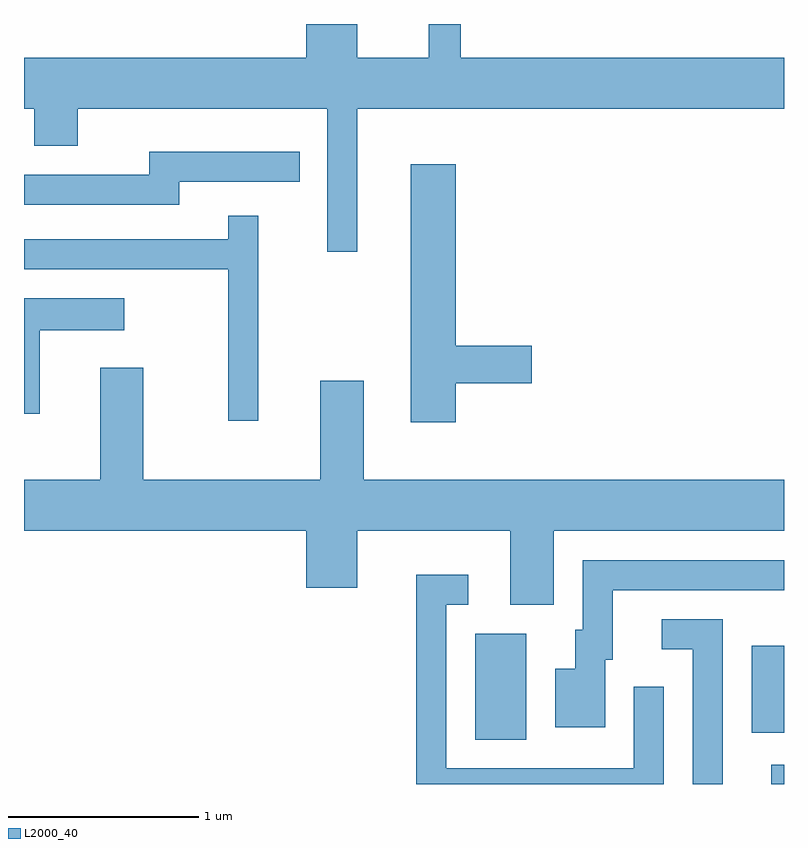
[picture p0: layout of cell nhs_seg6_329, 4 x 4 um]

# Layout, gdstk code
import gdstk
lib = gdstk.Library(unit=1e-6, precision=1e-09)
def R(c, l, rs):  # rectangles x0, y0, x1, y1
    for r in rs: c.add(gdstk.rectangle(r[:2], r[2:], *l))
def P(c, l, *ps):  # polygons
    for p in ps: c.add(gdstk.Polygon(p, *l))
L2000_40 = (2000, 40)

nhs_seg6_329 = lib.new_cell('nhs_seg6_329')
R(nhs_seg6_329, L2000_40, [(197.543,1644.162,197.611,1644.264), (195.986,1644.396,196.254,1644.954), (197.441,1644.431,197.611,1644.889)])
P(nhs_seg6_329, L2000_40, [(195.364,1647.716),(197.611,1647.716),(197.611,1647.984),(195.909,1647.984),(195.909,1648.162),(195.741,1648.162),(195.741,1647.984),(195.364,1647.984),(195.364,1648.162),(195.096,1648.162),(195.096,1647.984),(193.611,1647.984),(193.611,1647.716),(193.666,1647.716),(193.666,1647.521),(193.894,1647.521),(193.894,1647.716),(195.206,1647.716),(195.206,1646.963),(195.364,1646.963)],
  [(194.429,1647.331),(195.063,1647.331),(195.063,1647.489),(194.271,1647.489),(194.271,1647.369),(193.611,1647.369),(193.611,1647.211),(194.429,1647.211)],
  [(195.884,1646.271),(196.284,1646.271),(196.284,1646.469),(195.884,1646.469),(195.884,1647.424),(195.646,1647.424),(195.646,1646.066),(195.884,1646.066)],
  [(194.844,1647.153),(194.686,1647.153),(194.686,1647.029),(193.611,1647.029),(193.611,1646.871),(194.686,1646.871),(194.686,1646.073),(194.844,1646.073)],
  [(193.694,1646.551),(194.138,1646.551),(194.138,1646.719),(193.611,1646.719),(193.611,1646.111),(193.694,1646.111)],
  [(196.399,1645.496),(197.611,1645.496),(197.611,1645.764),(195.399,1645.764),(195.399,1646.284),(195.171,1646.284),(195.171,1645.764),(194.239,1645.764),(194.239,1646.354),(194.011,1646.354),(194.011,1645.764),(193.611,1645.764),(193.611,1645.496),(195.096,1645.496),(195.096,1645.196),(195.364,1645.196),(195.364,1645.496),(196.171,1645.496),(196.171,1645.106),(196.399,1645.106)],
  [(196.669,1644.816),(196.709,1644.816),(196.709,1645.181),(197.611,1645.181),(197.611,1645.339),(196.551,1645.339),(196.551,1644.974),(196.511,1644.974),(196.511,1644.769),(196.406,1644.769),(196.406,1644.461),(196.669,1644.461)],
  [(196.979,1644.673),(196.821,1644.673),(196.821,1644.244),(195.834,1644.244),(195.834,1645.106),(195.948,1645.106),(195.948,1645.264),(195.676,1645.264),(195.676,1644.162),(196.979,1644.162)],
  [(197.289,1645.029),(196.968,1645.029),(196.968,1644.871),(197.131,1644.871),(197.131,1644.162),(197.289,1644.162)])

lib.write_gds('nhs_seg6_329.gds')
